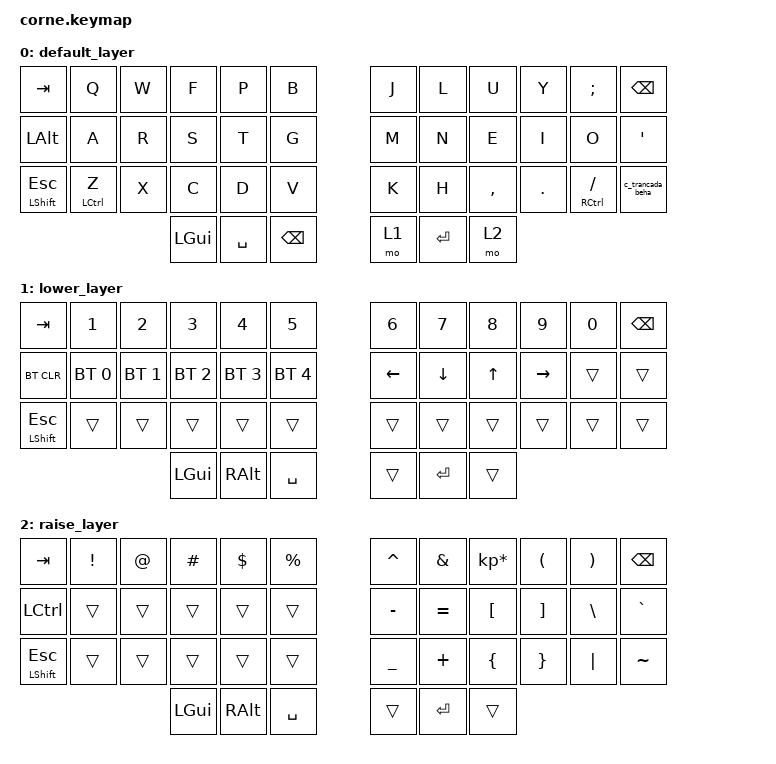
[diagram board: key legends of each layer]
/*
 * Copyright (c) 2020 The ZMK Contributors
 *
 * SPDX-License-Identifier: MIT
 */

#include <behaviors.dtsi>
#include <dt-bindings/zmk/keys.h>
#include <dt-bindings/zmk/bt.h>

/ {

    macros {
        c_trancada: c_trancada {
            label = "ZM_c_trancada";
            compatible = "zmk,behavior-macro";
            #binding-cells = <0>;
            wait-ms = <40>;
            tap-ms = <40>;
            bindings
                = <&macro_press &kp LSHFT &kp LCTRL>
                , <&macro_tap &kp U>
                , <&macro_release &kp LSHFT &kp LCTRL>
                , <&macro_tap &kp E &kp KP_N7 &kp RET>
                ;
        };
        c_trancada_mayus: c_trancada_mayus {
            label = "c_trancada_mayus";
            compatible = "zmk,behavior-macro";
            #binding-cells = <0>;
            wait-ms = <40>;
            tap-ms = <40>;
            bindings
                = <&macro_press &kp LSHFT &kp LCTRL>
                , <&macro_tap &kp U>
                , <&macro_release &kp LSHFT &kp LCTRL>
                , <&macro_tap &kp C &kp KP_N7 &kp RET>
                ;
        };
    };

    behaviors {
        c_trancada_beha: c_trancada_beha {
            compatible = "zmk,behavior-mod-morph";
            label = "c_trancada_beha";
            #binding-cells = <0>;
            bindings = <&c_trancada>, <&c_trancada_mayus>;
            mods = <(MOD_LSFT)>;
        };
    };

    keymap {
        compatible = "zmk,keymap";

        default_layer {
// -------------------------------------------------------------------------------------------------
// | TAB      |  Q        |  W  |  F  |  P  |  B   |   |  J  |  L   |  U  |  Y  |  ;        | BKSP |
// | ESC LALT |  A        |  R  |  S  |  T  |  G   |   |  M  |  N   |  E  |  I  |  O        |  '   |
// | SHFT     |  LCTRL Z  |  X  |  C  |  D  |  V   |   |  K  |  H   |  ,  |  .  |  RCTRL /  |  Ç   |
//                              | GUI | SPC | BSPC |   | LWR | ENT  | RSE |
            bindings = <
   &kp TAB       &kp Q       &kp W &kp F    &kp P     &kp B       &kp J &kp L   &kp U     &kp Y   &kp SEMI      &kp BSPC
   &kp LALT      &kp A       &kp R &kp S    &kp T     &kp G       &kp M &kp N   &kp E     &kp I   &kp O         &kp SQT
   &mt LSHFT ESC &mt LCTRL Z &kp X &kp C    &kp D     &kp V       &kp K &kp H   &kp COMMA &kp DOT &mt RCTRL FSLH &c_trancada_beha
                                   &kp LGUI &kp SPACE &kp BSPC    &mo 1 &kp RET &mo 2
            >;
        };

        lower_layer {
// -------------------------------------------------------------------------------
// |  TAB |  1  |  2  |  3  |  4  |  5  |   |  6  |  7  |  8  |  9  |  0  | BKSP |
// | BTCLR| BT1 | BT2 | BT3 | BT4 | BT5 |   | LFT | DWN |  UP | RGT |     |      |
// | SHFT |     |     |     |     |     |   |     |     |     |     |     |      |
//                    | GUI | ALT | SPC |   |     | ENT |     |
            bindings = <
   &kp TAB       &kp N1       &kp N2       &kp N3       &kp N4       &kp N5         &kp N6   &kp N7   &kp N8   &kp N9    &kp N0 &kp BSPC
   &bt BT_CLR    &bt BT_SEL 0 &bt BT_SEL 1 &bt BT_SEL 2 &bt BT_SEL 3 &bt BT_SEL 4   &kp LEFT &kp DOWN &kp UP   &kp RIGHT &trans &trans
   &mt LSHFT ESC &trans       &trans       &trans       &trans       &trans         &trans   &trans   &trans   &trans    &trans &trans
                                           &kp LGUI     &kp RALT     &kp SPACE      &trans   &kp RET  &trans
            >;
        };

        raise_layer {
// -------------------------------------------------------------------------------
// |  TAB |  !  |  @  |  #  |  $  |  %  |   |  ^  |  &  |  *  |  (  |  )  | BKSP |
// | CTRL |     |     |     |     |     |   |  -  |  =  |  [  |  ]  |  \  |  `   |
// | SHFT |     |     |     |     |     |   |  _  |  +  |  {  |  }  | "|" |  ~   |
//                    | GUI | ALT | SPC |   |     | ENT |     |
            bindings = <
   &kp TAB       &kp EXCL &kp AT &kp HASH &kp DLLR &kp PRCNT   &kp CARET &kp AMPS  &kp KP_MULTIPLY &kp LPAR &kp RPAR &kp BSPC
   &kp LCTRL     &trans   &trans &trans   &trans   &trans      &kp MINUS &kp EQUAL &kp LBKT        &kp RBKT &kp BSLH &kp GRAVE
   &mt LSHFT ESC &trans   &trans &trans   &trans   &trans      &kp UNDER &kp PLUS  &kp LBRC        &kp RBRC &kp PIPE &kp TILDE
                                 &kp LGUI &kp RALT &kp SPACE   &trans    &kp RET   &trans
            >;
        };
    };
};

